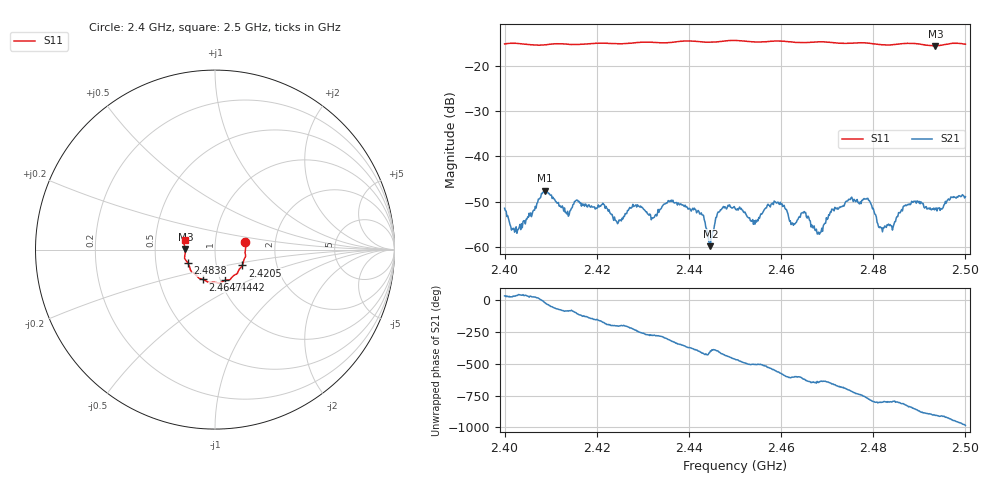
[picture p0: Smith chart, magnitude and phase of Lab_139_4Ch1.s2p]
# Hz S RI R 50
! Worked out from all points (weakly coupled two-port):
!   601 points, 2.4 GHz to 2.5 GHz, reference 50 ohm
!   highest |S21| = -47.54 dB at 2.4088 GHz (marker M1); lowest = -59.8 dB at 2.4447 GHz (marker M2)
!   lowest |S11| = -15.6 dB at 2.4935 GHz (marker M3), VSWR 1.40, Z = 35.8 + j0.139 ohm
!   |S11| at or under -10 dB: start of sweep to end of sweep
!   S12 and S22 are empty: the file has one direction only
!   S11 on the Smith chart (normalised r, x): 2.4 GHz: 1.40, +0.12; 2.4205 GHz: 1.34, -0.24; 2.4442 GHz: 1.05, -0.37; 2.4647 GHz: 0.83, -0.29; 2.4838 GHz: 0.73, -0.11; 2.5 GHz: 0.71, +0.07
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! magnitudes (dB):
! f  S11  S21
! 2.4 GHz  -15.2  -51.4
! 2.4027 GHz  -15.1  -56.9
! 2.4088 GHz  -15.4  -47.5
! 2.4137 GHz  -15.3  -52.1
! 2.4167 GHz  -15.3  -51.0
! 2.4205 GHz  -15.1  -51.2
! 2.4245 GHz  -15.2  -54.8
! 2.4333 GHz  -15.0  -51.7
! 2.4417 GHz  -14.7  -52.4
! 2.4442 GHz  -14.8  -57.6
! 2.4447 GHz  -14.8  -59.8
! 2.4467 GHz  -14.7  -52.2
! 2.45 GHz  -14.5  -51.4
! 2.4538 GHz  -14.7  -53.9
! 2.4647 GHz  -14.9  -52.4
! 2.4667 GHz  -14.8  -55.1
! 2.4783 GHz  -15.0  -49.4
! 2.4833 GHz  -15.5  -54.9
! 2.4838 GHz  -15.4  -55.3
! 2.4887 GHz  -15.1  -50.1
! 2.4935 GHz  -15.6  -51.5
! 2.5 GHz  -15.3  -48.9
